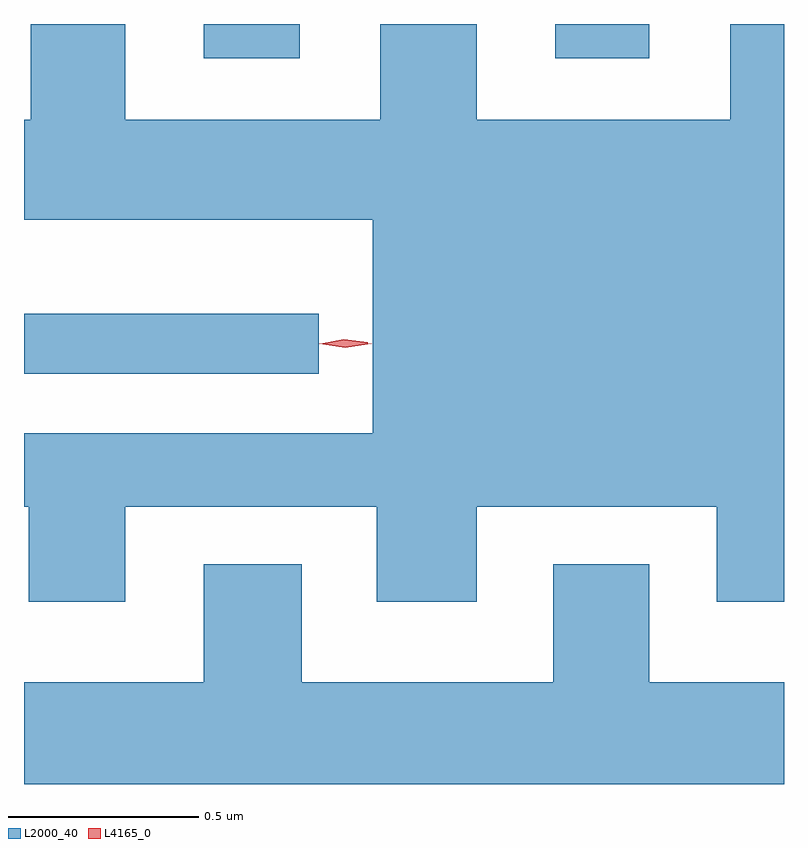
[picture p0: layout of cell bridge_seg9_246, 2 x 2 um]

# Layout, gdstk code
import gdstk
lib = gdstk.Library(unit=1e-6, precision=1e-09)
def R(c, l, rs):  # rectangles x0, y0, x1, y1
    for r in rs: c.add(gdstk.rectangle(r[:2], r[2:], *l))
def P(c, l, *ps):  # polygons
    for p in ps: c.add(gdstk.Polygon(p, *l))
L2000_40 = (2000, 40)
L4165_0 = (4165, 0)

bridge_seg9_246 = lib.new_cell('bridge_seg9_246')
R(bridge_seg9_246, L2000_40, [(1445.963,1961.816,1446.738,1961.974), (1446.436,1962.646,1446.689,1962.736), (1447.361,1962.646,1447.609,1962.736)])
P(bridge_seg9_246, L2000_40, [(1446.229,1961.466),(1446.891,1961.466),(1446.891,1961.216),(1447.154,1961.216),(1447.154,1961.466),(1447.786,1961.466),(1447.786,1961.216),(1447.963,1961.216),(1447.963,1962.736),(1447.821,1962.736),(1447.821,1962.484),(1447.154,1962.484),(1447.154,1962.736),(1446.901,1962.736),(1446.901,1962.484),(1446.229,1962.484),(1446.229,1962.736),(1445.981,1962.736),(1445.981,1962.484),(1445.963,1962.484),(1445.963,1962.221),(1446.881,1962.221),(1446.881,1961.659),(1445.963,1961.659),(1445.963,1961.466),(1445.976,1961.466),(1445.976,1961.216),(1446.229,1961.216)],
  [(1447.963,1961.004),(1447.609,1961.004),(1447.609,1961.314),(1447.356,1961.314),(1447.356,1961.004),(1446.694,1961.004),(1446.694,1961.314),(1446.436,1961.314),(1446.436,1961.004),(1445.963,1961.004),(1445.963,1960.736),(1447.963,1960.736)])
P(bridge_seg9_246, L4165_0, [(1446.809,1961.884),(1446.74,1961.894),(1446.74,1961.894),(1446.74,1961.894),(1446.809,1961.904),(1446.877,1961.894),(1446.878,1961.894),(1446.877,1961.894)],
  [(1446.805,1961.886),(1446.743,1961.894),(1446.743,1961.895),(1446.743,1961.895),(1446.805,1961.906),(1446.867,1961.898),(1446.868,1961.897),(1446.867,1961.897)])

lib.write_gds('bridge_seg9_246.gds')
